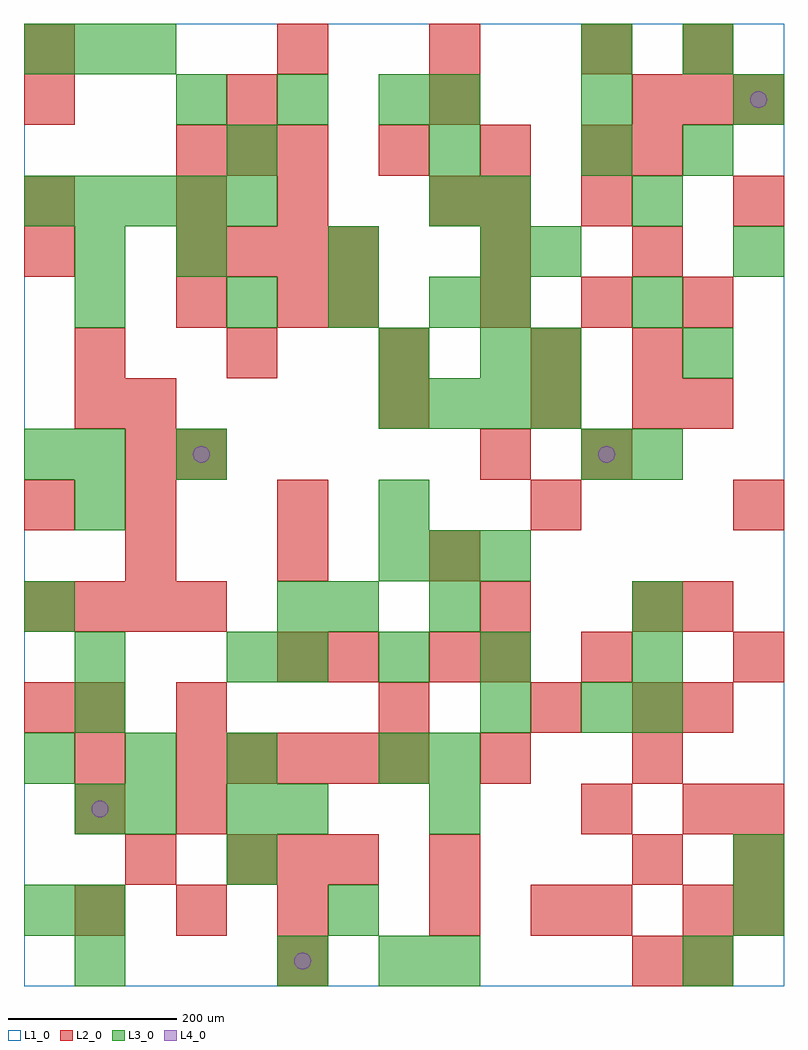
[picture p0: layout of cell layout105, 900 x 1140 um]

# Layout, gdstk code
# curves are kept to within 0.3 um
import gdstk
lib = gdstk.Library(unit=1e-6, precision=1e-09)
def R(c, l, rs):  # rectangles x0, y0, x1, y1
    for r in rs: c.add(gdstk.rectangle(r[:2], r[2:], *l))
def A(c, l, x, y, w, h, nx, ny, dx, dy):  # array of equal rectangles
    R(c, l, [(x+i*dx, y+j*dy, x+i*dx+w, y+j*dy+h) for i in range(nx) for j in range(ny)])
def P(c, l, *ps):  # polygons
    for p in ps: c.add(gdstk.Polygon(p, *l))
L1_0 = (1, 0)
L2_0 = (2, 0)
L3_0 = (3, 0)
L4_0 = (4, 0)

layout105 = lib.new_cell('layout105')
R(layout105, L1_0, [(0,0,900,1140)])
A(layout105, L2_0, 720, 0, 60, 60, 1, 3, 0, 120)
A(layout105, L2_0, 60, 60, 60, 60, 3, 1, 120, 0)
A(layout105, L2_0, 600, 60, 60, 60, 1, 3, 0, 240)
A(layout105, L2_0, 780, 60, 60, 60, 1, 4, 0, 120)
A(layout105, L2_0, 840, 60, 60, 60, 1, 3, 0, 60)
A(layout105, L2_0, 240, 120, 60, 60, 3, 1, 60, 0)
A(layout105, L2_0, 60, 180, 60, 60, 1, 3, 0, 60)
A(layout105, L2_0, 180, 240, 60, 60, 5, 1, 60, 0)
A(layout105, L2_0, 0, 420, 60, 60, 4, 1, 60, 0)
A(layout105, L2_0, 120, 480, 60, 60, 3, 1, 180, 0)
A(layout105, L2_0, 120, 540, 60, 60, 1, 3, 0, 60)
A(layout105, L2_0, 60, 720, 60, 60, 4, 1, 180, 0)
A(layout105, L2_0, 720, 720, 60, 60, 1, 3, 0, 120)
A(layout105, L2_0, 540, 780, 60, 60, 3, 1, 120, 0)
A(layout105, L2_0, 180, 840, 60, 60, 4, 1, 60, 0)
A(layout105, L2_0, 180, 960, 60, 60, 3, 1, 60, 0)
A(layout105, L2_0, 420, 960, 60, 60, 3, 1, 120, 0)
A(layout105, L2_0, 0, 1020, 60, 60, 4, 1, 240, 0)
A(layout105, L2_0, 300, 1080, 60, 60, 3, 1, 180, 0)
R(layout105, L2_0, [(300,0,360,60), (780,0,840,60), (480,60,540,120), (660,60,720,120), (120,120,180,180), (480,120,540,180), (180,180,240,240), (660,180,720,240), (540,240,600,300), (0,300,60,360), (180,300,240,360), (420,300,480,360), (720,300,780,360), (300,360,360,420), (360,360,420,420), (480,360,540,420), (540,360,600,420), (660,360,720,420), (840,360,900,420), (540,420,600,480), (720,420,780,480), (0,540,60,600), (300,540,360,600), (840,540,900,600), (180,600,240,660), (540,600,600,660), (660,600,720,660), (60,660,120,720), (420,660,480,720), (600,660,660,720), (720,660,780,720), (780,660,840,720), (180,780,240,840), (300,780,360,840), (360,780,420,840), (0,840,60,900), (540,840,600,900), (0,900,60,960), (180,900,240,960), (300,900,360,960), (480,900,540,960), (540,900,600,960), (660,900,720,960), (840,900,900,960), (780,1020,840,1080), (840,1020,900,1080), (0,1080,60,1140), (780,1080,840,1140)])
A(layout105, L3_0, 60, 60, 60, 60, 1, 3, 0, 120)
A(layout105, L3_0, 0, 240, 60, 60, 3, 1, 120, 0)
A(layout105, L3_0, 720, 300, 60, 60, 1, 3, 0, 60)
A(layout105, L3_0, 300, 360, 60, 60, 3, 1, 120, 0)
A(layout105, L3_0, 420, 480, 60, 60, 3, 1, 60, 0)
A(layout105, L3_0, 420, 660, 60, 60, 4, 1, 60, 0)
A(layout105, L3_0, 240, 780, 60, 60, 3, 1, 120, 0)
A(layout105, L3_0, 180, 840, 60, 60, 3, 1, 180, 0)
A(layout105, L3_0, 0, 900, 60, 60, 5, 1, 60, 0)
A(layout105, L3_0, 180, 1020, 60, 60, 3, 1, 120, 0)
A(layout105, L3_0, 480, 1020, 60, 60, 3, 1, 180, 0)
A(layout105, L3_0, 0, 1080, 60, 60, 3, 1, 60, 0)
R(layout105, L3_0, [(60,0,120,60), (300,0,360,60), (420,0,480,60), (480,0,540,60), (780,0,840,60), (0,60,60,120), (360,60,420,120), (840,60,900,120), (240,120,300,180), (840,120,900,180), (120,180,180,240), (240,180,300,240), (300,180,360,240), (480,180,540,240), (420,240,480,300), (480,240,540,300), (540,300,600,360), (660,300,720,360), (60,360,120,420), (240,360,300,420), (0,420,60,480), (300,420,360,480), (360,420,420,480), (480,420,540,480), (60,540,120,600), (420,540,480,600), (0,600,60,660), (60,600,120,660), (180,600,240,660), (660,600,720,660), (720,600,780,660), (420,720,480,780), (540,720,600,780), (600,720,660,780), (780,720,840,780), (60,780,120,840), (540,780,600,840), (720,780,780,840), (60,840,120,900), (600,840,660,900), (840,840,900,900), (480,900,540,960), (540,900,600,960), (720,900,780,960), (240,960,300,1020), (480,960,540,1020), (660,960,720,1020), (780,960,840,1020), (660,1080,720,1140), (780,1080,840,1140)])
P(layout105, L4_0, [(100,210),(99.239,213.827),(97.071,217.071),(93.827,219.239),(90,220),(86.173,219.239),(82.929,217.071),(80.761,213.827),(80,210),(80.761,206.173),(82.929,202.929),(86.173,200.761),(90,200),(93.827,200.761),(97.071,202.929),(99.239,206.173)],
  [(220,630),(219.239,633.827),(217.071,637.071),(213.827,639.239),(210,640),(206.173,639.239),(202.929,637.071),(200.761,633.827),(200,630),(200.761,626.173),(202.929,622.929),(206.173,620.761),(210,620),(213.827,620.761),(217.071,622.929),(219.239,626.173)],
  [(340,30),(339.239,33.827),(337.071,37.071),(333.827,39.239),(330,40),(326.173,39.239),(322.929,37.071),(320.761,33.827),(320,30),(320.761,26.173),(322.929,22.929),(326.173,20.761),(330,20),(333.827,20.761),(337.071,22.929),(339.239,26.173)],
  [(700,630),(699.239,633.827),(697.071,637.071),(693.827,639.239),(690,640),(686.173,639.239),(682.929,637.071),(680.761,633.827),(680,630),(680.761,626.173),(682.929,622.929),(686.173,620.761),(690,620),(693.827,620.761),(697.071,622.929),(699.239,626.173)],
  [(880,1050),(879.239,1053.827),(877.071,1057.071),(873.827,1059.239),(870,1060),(866.173,1059.239),(862.929,1057.071),(860.761,1053.827),(860,1050),(860.761,1046.173),(862.929,1042.929),(866.173,1040.761),(870,1040),(873.827,1040.761),(877.071,1042.929),(879.239,1046.173)])

lib.write_gds('layout105.gds')
